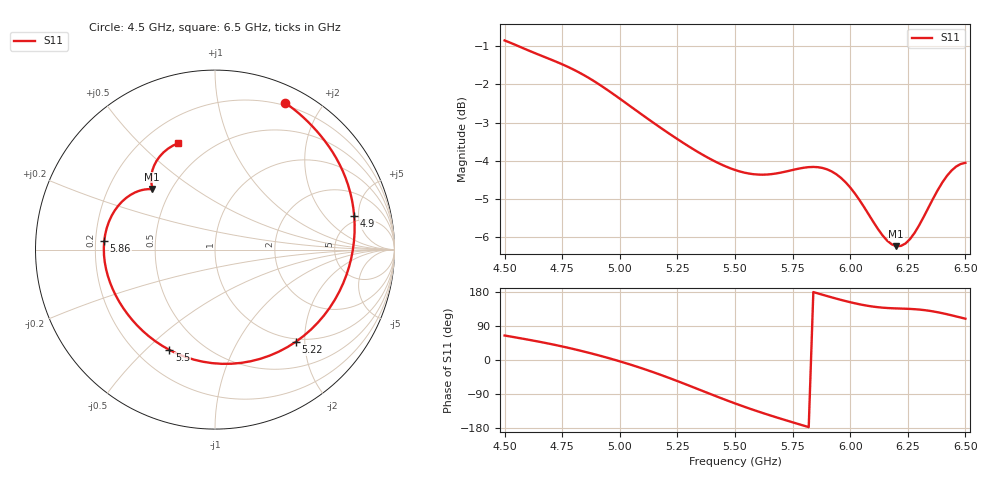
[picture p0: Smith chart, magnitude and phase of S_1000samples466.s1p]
! TOUCHSTONE file generated by CST MICROWAVE STUDIO
! Date and time: Fri Oct 28 06:27:31 2022
! Project name: L.cst
! Parameters = {Di=1.27; Epsilon_r=1.56; InnerDiameter=1.27; Length=2; Lf=10; Lg=60; OuterConductorThickness=0.2921; OuterDiameter=3.6; Wf=3; Wp=41.2; de=1.5; df=6.8; g=0.8; gx=2.3494; gy=0.95274; h=2.34; hf=1.524; px=10.4081; py=10.9343; w=9.7; wx=8.05867; wy=9.98159}
! Header version: 2018
! Port assignment regex: !\s*Touchstone port\s*([0-9]+)\s*=\s*(CST MWS port|CST DS port)\s*([0-9]+|Zmin|Zmax)\s*\(\"(.*)\"\)(\s*mode\s*([0-9]+))?.*
! Touchstone port assignment:
! Touchstone port 1 = CST MWS port 1 ("")
# GHz S DB R 50
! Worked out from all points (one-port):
!   101 points, 4.5 GHz to 6.5 GHz, reference 50 ohm
!   lowest |S11| = -6.2 dB at 6.2 GHz (marker M1), VSWR 2.91, Z = 19.6 + j17.4 ohm
!   |S11| at or under -10 dB: nowhere
!   S11 on the Smith chart (normalised r, x): 4.5 GHz: 0.17, +1.57; 4.9 GHz: 4.26, +4.38; 5.22 GHz: 0.94, -1.82; 5.5 GHz: 0.33, -0.59; 5.86 GHz: 0.24, +0.04; 6.5 GHz: 0.34, +0.66
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4.5  -0.85 64.6
4.64  -1.21 49.4
4.76  -1.50 34.4
4.84  -1.75 22.9
4.9  -1.96 13.5
5  -2.38 -3.6
5.1  -2.81 -22.8
5.16  -3.06 -35.4
5.22  -3.31 -48.7
5.26  -3.47 -58.0
5.32  -3.70 -72.2
5.38  -3.91 -86.6
5.44  -4.09 -100.8
5.5  -4.24 -114.5
5.62  -4.36 -139.8
5.7  -4.31 -155.1
5.76  -4.23 -166.2
5.86  -4.17 175.7
5.92  -4.28 165.3
6  -4.70 152.5
6.08  -5.40 142.6
6.14  -5.94 138.1
6.2  -6.23 136.1
6.26  -6.04 134.8
6.32  -5.45 131.8
6.38  -4.76 126.0
6.44  -4.25 117.9
6.5  -4.05 109.0
